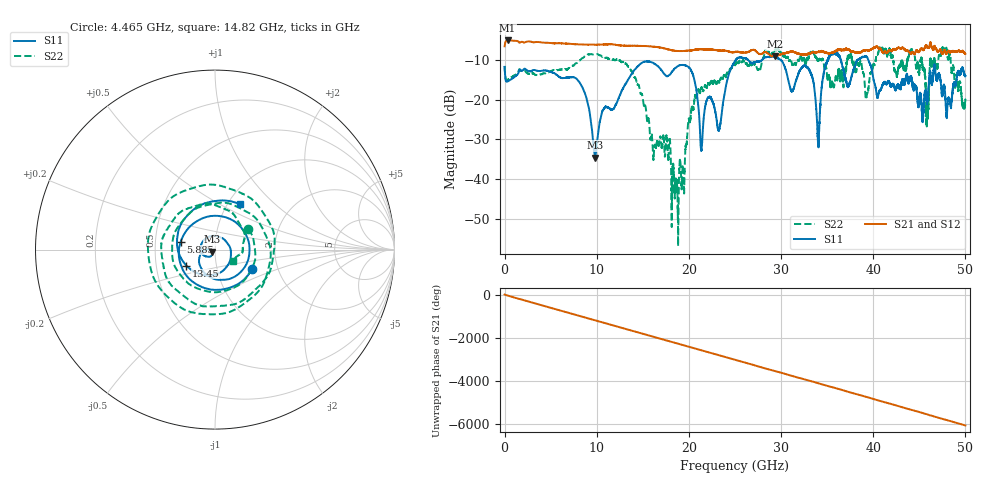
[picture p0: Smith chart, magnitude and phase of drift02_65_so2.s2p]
!Created with skrf (http://scikit-rf.org).
# Hz S RI R 50.0
!freq ReS11 ImS11 ReS21 ImS21 ReS12 ImS12 ReS22 ImS22
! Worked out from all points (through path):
!   10001 points, 300 kHz to 50 GHz, reference 50 ohm
!   highest |S21| = -5.04 dB at 325.3 MHz (marker M1); lowest = -9.0 dB at 29.32 GHz (marker M2)
!   group delay of S21, straight-line fit = 336 ps
!   lowest |S11| = -34.6 dB at 9.84 GHz (marker M3), VSWR 1.04, Z = 48.5 - j1.03 ohm
!   |S11| at or under -10 dB: start of sweep to 25.07 GHz; 29.97 GHz to 35.04 GHz (5.071 GHz wide, 15.6 % of centre); 39.48 GHz to end of sweep (the widest 3 of 8)
!   |S22| runs from -56.9 to -6.7 dB; largest |S21 - S12| = 0.021
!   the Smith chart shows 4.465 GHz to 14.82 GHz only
!   S11 on the Smith chart (normalised r, x): 4.465 GHz: 1.47, -0.34; 5.885 GHz: 0.68, +0.06; 13.45 GHz: 0.71, -0.13; 14.82 GHz: 1.13, +0.63
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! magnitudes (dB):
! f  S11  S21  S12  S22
! 300 kHz  -11.7  -6.5  -6.4  -11.5
! 325.3 MHz  -15.4  -5.0  -5.0  -15.0
! 4.465 GHz  -12.6  -5.6  -5.6  -13.3
! 5.885 GHz  -14.2  -5.7  -5.7  -12.5
! 8.335 GHz  -16.4  -6.1  -6.0  -9.6
! 9.84 GHz  -34.6  -6.1  -6.1  -8.5
! 13.45 GHz  -14.8  -6.4  -6.4  -11.6
! 14.82 GHz  -10.8  -6.4  -6.4  -18.5
! 16.67 GHz  -11.6  -6.7  -6.7  -31.1
! 18.66 GHz  -11.8  -7.7  -7.7  -41.0
! 20.37 GHz  -13.3  -7.5  -7.5  -21.9
! 21.37 GHz  -32.4  -7.2  -7.2  -16.9
! 23.31 GHz  -27.3  -7.5  -7.6  -15.6
! 25 GHz  -10.3  -7.9  -8.0  -11.2
! 29.32 GHz  -9.3  -9.0  -9.1  -7.5
! 33.34 GHz  -14.0  -8.1  -8.2  -8.0
! 34.02 GHz  -31.7  -7.9  -7.9  -10.2
! 35.52 GHz  -8.5  -8.1  -8.1  -15.6
! 41.67 GHz  -15.4  -7.7  -7.7  -7.6
! 45.85 GHz  -20.8  -6.7  -6.8  -21.9
! 47.77 GHz  -17.6  -7.6  -7.6  -7.5
! 50 GHz  -14.0  -8.4  -8.4  -20.0
